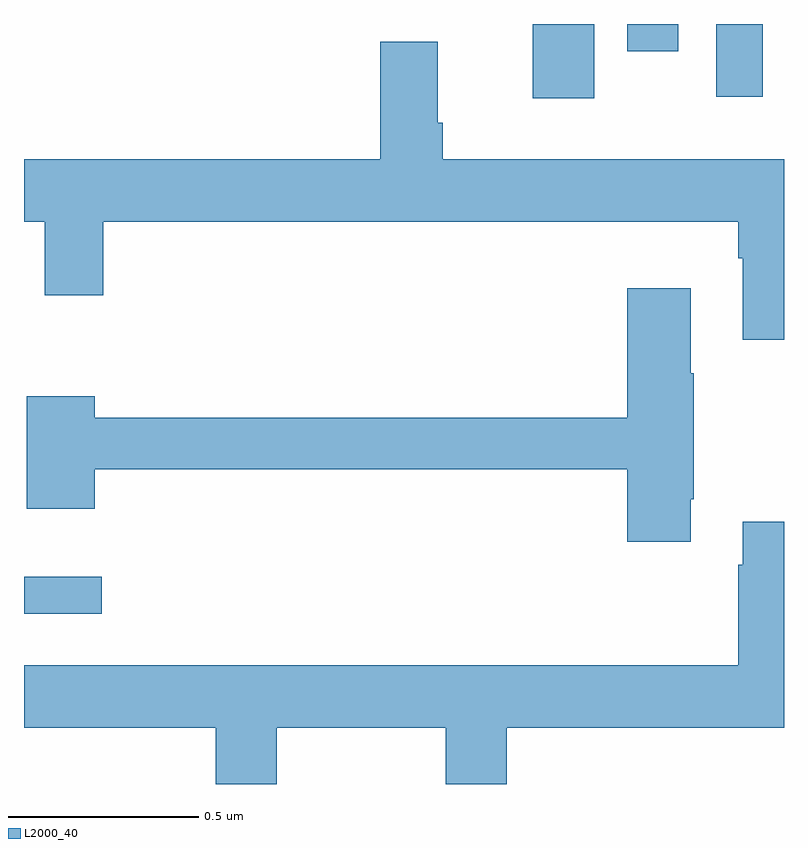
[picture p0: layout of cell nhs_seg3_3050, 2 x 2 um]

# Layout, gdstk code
import gdstk
lib = gdstk.Library(unit=1e-6, precision=1e-09)
def R(c, l, rs):  # rectangles x0, y0, x1, y1
    for r in rs: c.add(gdstk.rectangle(r[:2], r[2:], *l))
def P(c, l, *ps):  # polygons
    for p in ps: c.add(gdstk.Polygon(p, *l))
L2000_40 = (2000, 40)

nhs_seg3_3050 = lib.new_cell('nhs_seg3_3050')
R(nhs_seg3_3050, L2000_40, [(148,735.848,148.204,735.945), (149.339,737.205,149.5,737.4), (149.822,737.208,149.944,737.4), (149.588,737.328,149.722,737.4)])
P(nhs_seg3_3050, L2000_40, [(150,737.044),(149.102,737.044),(149.102,737.14),(149.089,737.14),(149.089,737.353),(148.937,737.353),(148.937,737.044),(148,737.044),(148,736.88),(148.055,736.88),(148.055,736.686),(148.208,736.686),(148.208,736.88),(149.879,736.88),(149.879,736.784),(149.891,736.784),(149.891,736.569),(150,736.569)],
  [(149.755,736.15),(149.763,736.15),(149.763,736.481),(149.755,736.481),(149.755,736.705),(149.588,736.705),(149.588,736.364),(148.186,736.364),(148.186,736.42),(148.007,736.42),(148.007,736.124),(148.186,736.124),(148.186,736.228),(149.588,736.228),(149.588,736.038),(149.755,736.038)],
  [(148,735.548),(148.505,735.548),(148.505,735.4),(148.665,735.4),(148.665,735.548),(149.11,735.548),(149.11,735.4),(149.27,735.4),(149.27,735.548),(150,735.548),(150,736.09),(149.891,736.09),(149.891,735.977),(149.879,735.977),(149.879,735.712),(148,735.712)])

lib.write_gds('nhs_seg3_3050.gds')
